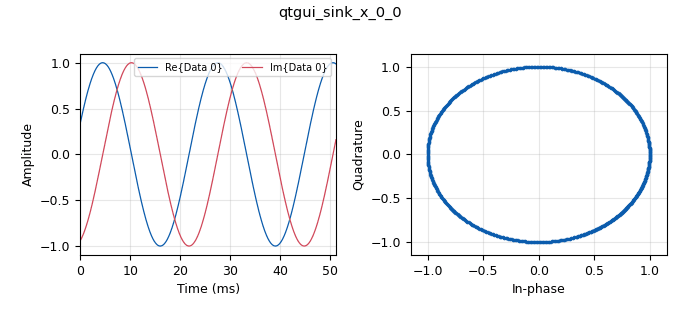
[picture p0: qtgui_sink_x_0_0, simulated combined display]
<?xml version='1.0' encoding='utf-8'?>
<?grc format='1' created='3.7.12'?>
<flow_graph>
<block>
<key>options</key>
<param><key>id</key><value>testFM</value></param>
<param><key>generate_options</key><value>qt_gui</value></param>
</block>
<block>
<key>variable</key>
<param><key>id</key><value>samp_rate</value></param>
<param><key>value</key><value>2304000</value></param>
</block>
<block>
<key>variable</key>
<param><key>id</key><value>sample_rate</value></param>
<param><key>value</key><value>2200000</value></param>
</block>
<block>
<key>analog_nbfm_rx</key>
<param><key>id</key><value>analog_nbfm_rx_0</value></param>
<param><key>audio_rate</key><value>48000</value></param>
<param><key>_enabled</key><value>0</value></param>
<param><key>max_dev</key><value>75e3</value></param>
<param><key>quad_rate</key><value>288000</value></param>
<param><key>tau</key><value>75e-6</value></param>
</block>
<block>
<key>analog_nbfm_tx</key>
<param><key>id</key><value>analog_nbfm_tx_0</value></param>
<param><key>audio_rate</key><value>48000</value></param>
<param><key>_enabled</key><value>0</value></param>
<param><key>max_dev</key><value>75e3</value></param>
<param><key>fh</key><value>-1.0</value></param>
<param><key>quad_rate</key><value>samp_rate / 8</value></param>
<param><key>tau</key><value>75e-6</value></param>
</block>
<block>
<key>analog_sig_source_x</key>
<param><key>id</key><value>analog_sig_source_x_0</value></param>
<param><key>amp</key><value>1</value></param>
<param><key>freq</key><value>5000</value></param>
<param><key>offset</key><value>0</value></param>
<param><key>type</key><value>complex</value></param>
<param><key>samp_rate</key><value>samp_rate</value></param>
<param><key>waveform</key><value>analog.GR_SIN_WAVE</value></param>
</block>
<block>
<key>analog_wfm_rcv</key>
<param><key>id</key><value>analog_wfm_rcv_0</value></param>
<param><key>audio_decimation</key><value>8</value></param>
<param><key>_enabled</key><value>0</value></param>
<param><key>quad_rate</key><value>288000</value></param>
</block>
<block>
<key>parameter</key>
<param><key>id</key><value>audio_device</value></param>
<param><key>label</key><value>Audio device</value></param>
<param><key>type</key><value>string</value></param>
<param><key>value</key><value>"dmix:CARD=monitor,DEV=0"</value></param>
</block>
<block>
<key>audio_sink</key>
<param><key>id</key><value>audio_sink_0</value></param>
<param><key>_enabled</key><value>0</value></param>
<param><key>samp_rate</key><value>48000</value></param>
</block>
<block>
<key>blocks_add_xx</key>
<param><key>id</key><value>blocks_add_xx_0</value></param>
<param><key>_enabled</key><value>0</value></param>
<param><key>type</key><value>float</value></param>
</block>
<block>
<key>blocks_file_source</key>
<param><key>id</key><value>blocks_file_source_0</value></param>
<param><key>_enabled</key><value>0</value></param>
<param><key>file</key><value>/hispeed/111.txt</value></param>
<param><key>type</key><value>int</value></param>
<param><key>repeat</key><value>True</value></param>
</block>
<block>
<key>blocks_wavfile_source</key>
<param><key>id</key><value>blocks_wavfile_source_0</value></param>
<param><key>_enabled</key><value>0</value></param>
<param><key>file</key><value>/hispeed/111.txt</value></param>
<param><key>nchan</key><value>2</value></param>
<param><key>repeat</key><value>True</value></param>
</block>
<block>
<key>parameter</key>
<param><key>id</key><value>decimation</value></param>
<param><key>label</key><value>Decimation</value></param>
<param><key>type</key><value>intx</value></param>
<param><key>value</key><value>1</value></param>
</block>
<block>
<key>parameter</key>
<param><key>id</key><value>fm_station</value></param>
<param><key>label</key><value>FM station</value></param>
<param><key>type</key><value>intx</value></param>
<param><key>value</key><value>401100000</value></param>
</block>
<block>
<key>parameter</key>
<param><key>id</key><value>hostname</value></param>
<param><key>label</key><value>Hostname</value></param>
<param><key>type</key><value>string</value></param>
<param><key>value</key><value>127.0.0.1</value></param>
</block>
<block>
<key>parameter</key>
<param><key>id</key><value>interpolation</value></param>
<param><key>label</key><value>Interpolation</value></param>
<param><key>type</key><value>intx</value></param>
<param><key>value</key><value>2</value></param>
</block>
<block>
<key>low_pass_filter</key>
<param><key>id</key><value>low_pass_filter_0</value></param>
<param><key>cutoff_freq</key><value>200000</value></param>
<param><key>decim</key><value>sample_rate / (384000 * decimation)</value></param>
<param><key>_enabled</key><value>0</value></param>
<param><key>type</key><value>fir_filter_ccf</value></param>
<param><key>gain</key><value>20</value></param>
<param><key>samp_rate</key><value>sample_rate / decimation</value></param>
<param><key>width</key><value>44100</value></param>
<param><key>win</key><value>firdes.WIN_HAMMING</value></param>
</block>
<block>
<key>pluto_sink</key>
<param><key>id</key><value>pluto_sink_0</value></param>
<param><key>attenuation</key><value>10.0</value></param>
<param><key>buffer_size</key><value>0x8000</value></param>
<param><key>cyclic</key><value>False</value></param>
<param><key>auto_filter</key><value>True</value></param>
<param><key>filter</key><value></value></param>
<param><key>uri</key><value>uri</value></param>
<param><key>frequency</key><value>fm_station</value></param>
<param><key>bandwidth</key><value>20000</value></param>
<param><key>samplerate</key><value>samp_rate</value></param>
</block>
<block>
<key>pluto_source</key>
<param><key>id</key><value>pluto_source_0</value></param>
<param><key>bbdc</key><value>True</value></param>
<param><key>buffer_size</key><value>0x20000</value></param>
<param><key>uri</key><value>uri</value></param>
<param><key>auto_filter</key><value>True</value></param>
<param><key>filter</key><value></value></param>
<param><key>gain</key><value>"manual"</value></param>
<param><key>frequency</key><value>fm_station</value></param>
<param><key>manual_gain</key><value>40</value></param>
<param><key>quadrature</key><value>True</value></param>
<param><key>rfdc</key><value>True</value></param>
<param><key>bandwidth</key><value>20000</value></param>
<param><key>samplerate</key><value>samp_rate</value></param>
</block>
<block>
<key>qtgui_sink_x</key>
<param><key>id</key><value>qtgui_sink_x_0</value></param>
<param><key>bw</key><value>20000</value></param>
<param><key>fc</key><value>0</value></param>
<param><key>freqchangevar</key><value>None</value></param>
<param><key>_enabled</key><value>0</value></param>
<param><key>fftsize</key><value>1024</value></param>
<param><key>showrf</key><value>True</value></param>
<param><key>type</key><value>complex</value></param>
<param><key>wintype</key><value>firdes.WIN_BLACKMAN_hARRIS</value></param>
</block>
<block>
<key>qtgui_sink_x</key>
<param><key>id</key><value>qtgui_sink_x_0_0</value></param>
<param><key>bw</key><value>20000</value></param>
<param><key>fc</key><value>fm_station</value></param>
<param><key>freqchangevar</key><value>None</value></param>
<param><key>fftsize</key><value>1024</value></param>
<param><key>plotfreq</key><value>False</value></param>
<param><key>showrf</key><value>True</value></param>
<param><key>type</key><value>complex</value></param>
<param><key>wintype</key><value>firdes.WIN_BLACKMAN_hARRIS</value></param>
</block>
<block>
<key>qtgui_sink_x</key>
<param><key>id</key><value>qtgui_sink_x_0_0_0</value></param>
<param><key>bw</key><value>20000</value></param>
<param><key>fc</key><value>fm_station</value></param>
<param><key>freqchangevar</key><value>None</value></param>
<param><key>fftsize</key><value>1024</value></param>
<param><key>plotfreq</key><value>False</value></param>
<param><key>showrf</key><value>True</value></param>
<param><key>type</key><value>complex</value></param>
<param><key>wintype</key><value>firdes.WIN_BLACKMAN_hARRIS</value></param>
</block>
<block>
<key>qtgui_sink_x</key>
<param><key>id</key><value>qtgui_sink_x_1</value></param>
<param><key>bw</key><value>samp_rate</value></param>
<param><key>fc</key><value>fm_station</value></param>
<param><key>freqchangevar</key><value>None</value></param>
<param><key>_enabled</key><value>0</value></param>
<param><key>fftsize</key><value>1024</value></param>
<param><key>showports</key><value>True</value></param>
<param><key>type</key><value>complex</value></param>
<param><key>wintype</key><value>firdes.WIN_BLACKMAN_hARRIS</value></param>
</block>
<block>
<key>rational_resampler_xxx</key>
<param><key>id</key><value>rational_resampler_xxx_0</value></param>
<param><key>decim</key><value>1</value></param>
<param><key>_enabled</key><value>0</value></param>
<param><key>interp</key><value>8 / interpolation</value></param>
<param><key>taps</key><value></value></param>
<param><key>type</key><value>ccc</value></param>
</block>
<block>
<key>parameter</key>
<param><key>id</key><value>uri</value></param>
<param><key>label</key><value>URI</value></param>
<param><key>type</key><value>string</value></param>
<param><key>value</key><value>193.168.2.1</value></param>
</block>
<block>
<key>parameter</key>
<param><key>id</key><value>wav_file</value></param>
<param><key>label</key><value>WAV File</value></param>
<param><key>type</key><value>string</value></param>
<param><key>value</key><value>/hispeed/test1.wav</value></param>
</block>
<connection><source_block_id>analog_nbfm_rx_0</source_block_id><sink_block_id>audio_sink_0</sink_block_id><source_key>0</source_key><sink_key>0</sink_key></connection>
<connection><source_block_id>analog_nbfm_tx_0</source_block_id><sink_block_id>rational_resampler_xxx_0</sink_block_id><source_key>0</source_key><sink_key>0</sink_key></connection>
<connection><source_block_id>analog_sig_source_x_0</source_block_id><sink_block_id>pluto_sink_0</sink_block_id><source_key>0</source_key><sink_key>0</sink_key></connection>
<connection><source_block_id>analog_sig_source_x_0</source_block_id><sink_block_id>qtgui_sink_x_0_0</sink_block_id><source_key>0</source_key><sink_key>0</sink_key></connection>
<connection><source_block_id>analog_wfm_rcv_0</source_block_id><sink_block_id>audio_sink_0</sink_block_id><source_key>0</source_key><sink_key>0</sink_key></connection>
<connection><source_block_id>blocks_add_xx_0</source_block_id><sink_block_id>analog_nbfm_tx_0</sink_block_id><source_key>0</source_key><sink_key>0</sink_key></connection>
<connection><source_block_id>blocks_file_source_0</source_block_id><sink_block_id>analog_nbfm_tx_0</sink_block_id><source_key>0</source_key><sink_key>0</sink_key></connection>
<connection><source_block_id>blocks_wavfile_source_0</source_block_id><sink_block_id>blocks_add_xx_0</sink_block_id><source_key>0</source_key><sink_key>0</sink_key></connection>
<connection><source_block_id>blocks_wavfile_source_0</source_block_id><sink_block_id>blocks_add_xx_0</sink_block_id><source_key>1</source_key><sink_key>1</sink_key></connection>
<connection><source_block_id>low_pass_filter_0</source_block_id><sink_block_id>analog_nbfm_rx_0</sink_block_id><source_key>0</source_key><sink_key>0</sink_key></connection>
<connection><source_block_id>low_pass_filter_0</source_block_id><sink_block_id>analog_wfm_rcv_0</sink_block_id><source_key>0</source_key><sink_key>0</sink_key></connection>
<connection><source_block_id>low_pass_filter_0</source_block_id><sink_block_id>qtgui_sink_x_0_0_0</sink_block_id><source_key>0</source_key><sink_key>0</sink_key></connection>
<connection><source_block_id>low_pass_filter_0</source_block_id><sink_block_id>qtgui_sink_x_1</sink_block_id><source_key>0</source_key><sink_key>0</sink_key></connection>
<connection><source_block_id>pluto_source_0</source_block_id><sink_block_id>low_pass_filter_0</sink_block_id><source_key>0</source_key><sink_key>0</sink_key></connection>
<connection><source_block_id>pluto_source_0</source_block_id><sink_block_id>qtgui_sink_x_0_0_0</sink_block_id><source_key>0</source_key><sink_key>0</sink_key></connection>
<connection><source_block_id>rational_resampler_xxx_0</source_block_id><sink_block_id>pluto_sink_0</sink_block_id><source_key>0</source_key><sink_key>0</sink_key></connection>
<connection><source_block_id>rational_resampler_xxx_0</source_block_id><sink_block_id>qtgui_sink_x_0</sink_block_id><source_key>0</source_key><sink_key>0</sink_key></connection>
</flow_graph>
